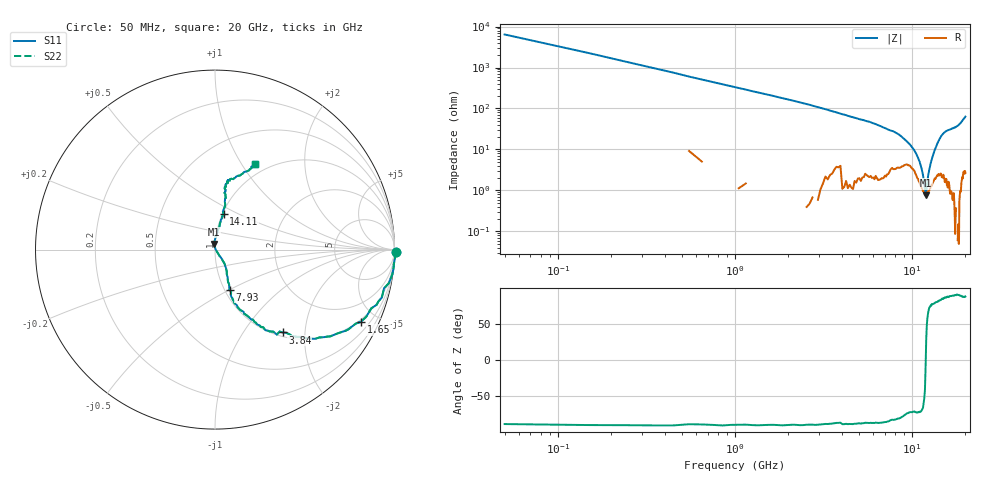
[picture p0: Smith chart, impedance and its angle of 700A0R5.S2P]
!  American Technical Ceramics  Date:  11/13/98
!  One Norden Lane
!  Huntington Station,  NY.  11746-2102
!  Tel:  (516) 547-5700  Fax:  (516) 547-5748
!  Part Number  700A0R5
!  Description: NPO, High Q, Temperature Stable
!  Application: Bypass, Coupling, Timing
!  Tuning, Blocking
# GHZ S DB R 50
! Freq  |S11|  S11 Ph  |S21|  S21 Ph  |S12|  S12 Ph  |S22|  S22 Ph
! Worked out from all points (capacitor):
!   201 points, 50 MHz to 20 GHz, reference 50 ohm
!   read as one part in series: C = 473 fF near 150 MHz
!   lowest |Z| = 757 mohm at 11.92 GHz (marker M1)
!   series resonance near 11.94 GHz, so ESL is about 380 pH
!   S11 on the Smith chart (normalised r, x): 50 MHz: open; 1.65 GHz: 0.90, -4.09; 3.84 GHz: 1.07, -1.53; 7.93 GHz: 1.06, -0.50; 14.11 GHz: 1.01, +0.42; 20 GHz: 0.87, +1.14
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0.05  0.05 -0.7  -36.08 88.2  -36.08 88.2  0.05 -0.7
0.15  0.04 -2.6  -26.98 87.7  -26.98 87.7  0.04 -2.6
0.25  0.00 -4.5  -22.56 86.0  -22.56 86.0  0.00 -4.5
0.55  -0.06 -9.1  -15.64 79.9  -15.64 79.9  -0.06 -9.1
0.95  -0.29 -16.1  -11.18 73.9  -11.18 73.9  -0.29 -16.1
1.65  -0.85 -26.3  -6.97 63.5  -6.97 63.5  -0.85 -26.3
3.44  -3.69 -47.6  -2.66 41.0  -2.66 41.0  -3.69 -47.6
3.84  -4.50 -50.8  -2.29 36.8  -2.29 36.8  -4.50 -50.8
6.73  -9.55 -68.5  -0.76 19.5  -0.76 19.5  -9.55 -68.5
7.93  -12.50 -69.9  -0.66 15.5  -0.66 15.5  -12.50 -69.9
10.03  -22.83 -55.0  -0.31 8.2  -0.31 8.2  -22.83 -55.0
10.42  -26.54 -54.5  -0.26 7.0  -0.26 7.0  -26.54 -54.5
10.82  -32.88 -50.8  -0.22 5.7  -0.22 5.7  -32.88 -50.8
11.02  -38.04 -40.7  -0.20 5.0  -0.20 5.0  -38.04 -40.7
11.22  -47.28 3.6  -0.18 4.3  -0.18 4.3  -47.28 3.6
11.52  -37.50 95.0  -0.17 3.3  -0.17 3.3  -37.50 95.0
11.92  -30.20 97.5  -0.16 1.9  -0.16 1.9  -30.20 97.5
13.42  -17.99 79.5  -0.27 -3.4  -0.27 -3.4  -17.99 79.5
14.11  -13.82 76.4  -0.37 -5.9  -0.37 -5.9  -13.82 76.4
15.21  -10.06 79.3  -0.75 -9.5  -0.75 -9.5  -10.06 79.3
16.71  -8.55 80.1  -0.98 -11.9  -0.98 -11.9  -8.55 80.1
20  -5.58 65.2  -2.57 -27.9  -2.57 -27.9  -5.58 65.2
